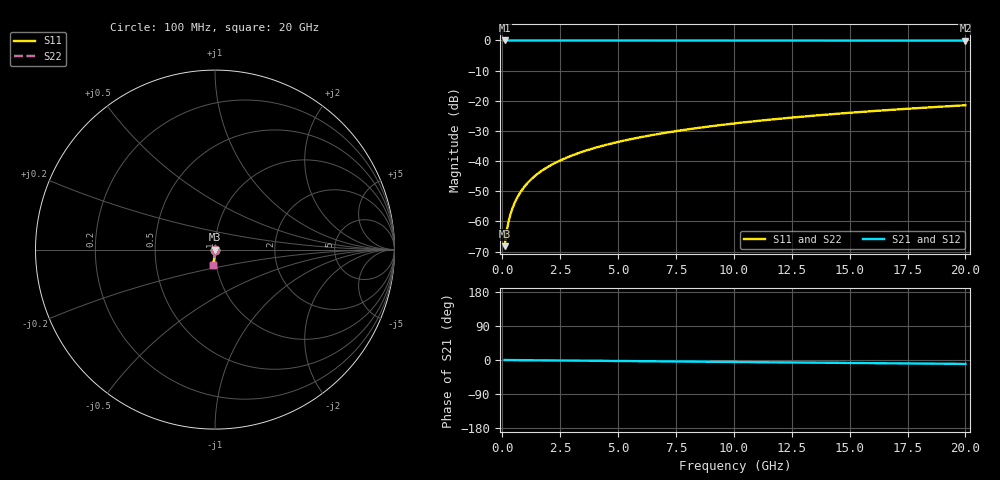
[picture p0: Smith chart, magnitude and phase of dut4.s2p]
! Touchstone file exported from HFSS 2026.1.0
!  File:  C:/ffzhzh/LocalFiles/Ansys_Project_Files/temp_test_TSV_4_1782978010_45568.aedt
!  Generated:  03:41:47 PM Jul  2, 2026
!  Design:  TSV
!  Project:  temp_test_TSV_4_1782978010_45568
! Variables:
!  h_bsmrdl = 2um
!  h_ox = 20um
!  h_rdl = 5um
!  h_sub = 99.64um
!  h_tmrdl = 5um
!  h_tsv = 99.64um
!  h_via = 3um
!  l_bsmrdl = 300um
!  l_sub = 421.18um
!  l_tmrdl = 200um
!  m_sub = 200um
!  pitch = 28.55um
!  r_tsv = 10.59um
!  s_tmrdl = 10um
!  w_bsmrdl = 18um
!  w_sub = 500um
!  w_tmrdl = 12um
!  x_tsv_center1 = 206um
!  x_tsv_center2 = 524um
!  x_tsv_center3 = 736um
!  x_tsv_center4 = 1054um
!  x_tsv_center5 = 1266um
!  x_tsv_center6 = 1584um
# GHz S MA R 50.000000
! Terminal data exported
! Port[1] = TSV1_1_T1
! Port[2] = TSV1_1_T2
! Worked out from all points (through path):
!   200 points, 100 MHz to 20 GHz, reference 50 ohm
!   highest |S21| = 0.00 dB at 100 MHz (marker M1); lowest = 0.0 dB at 20 GHz (marker M2)
!   group delay of S21, straight-line fit = 1.43 ps
!   lowest |S11| = -68.2 dB at 100 MHz (marker M3), VSWR 1.00, Z = 50 - j0.0357 ohm
!   |S11| at or under -10 dB: start of sweep to end of sweep
!   |S22| runs from -68.2 to -21.5 dB; largest |S21 - S12| = 4.2e-15
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0.1  0.0003886 -66.7  0.9998 -0.1  0.9998 -0.1  0.0003886 -66.7
! Gamma 0 0 0 0
! Port Impedance 50 0 50 0
0.2  0.0007406 -76.3  0.9998 -0.1  0.9998 -0.1  0.0007406 -76.3
0.3  0.001112 -79.4  0.9998 -0.2  0.9998 -0.2  0.001112 -79.4
0.4  0.001496 -80.8  0.9998 -0.2  0.9998 -0.2  0.001496 -80.8
0.5  0.001892 -81.6  0.9997 -0.3  0.9997 -0.3  0.001892 -81.6
0.7  0.002705 -82.9  0.9996 -0.4  0.9996 -0.4  0.002705 -82.9
0.8  0.003119 -83.4  0.9996 -0.4  0.9996 -0.4  0.003119 -83.4
1  0.003953 -84.2  0.9996 -0.5  0.9996 -0.5  0.003953 -84.2
1.2  0.004792 -85.0  0.9995 -0.6  0.9995 -0.6  0.004792 -85.0
1.4  0.005631 -85.6  0.9995 -0.7  0.9995 -0.7  0.005631 -85.6
1.7  0.006889 -86.3  0.9994 -0.9  0.9994 -0.9  0.006889 -86.3
2  0.008148 -87.0  0.9994 -1.1  0.9994 -1.1  0.008148 -87.0
2.7  0.01108 -88.0  0.9993 -1.4  0.9993 -1.4  0.01108 -88.0
3.5  0.01445 -88.9  0.9991 -1.8  0.9991 -1.8  0.01445 -88.9
4.2  0.0174 -89.5  0.999 -2.2  0.999 -2.2  0.0174 -89.5
5  0.02078 -90.1  0.9989 -2.6  0.9989 -2.6  0.02078 -90.1
6.8  0.02841 -91.4  0.9985 -3.5  0.9985 -3.5  0.02841 -91.4
8.3  0.03479 -92.4  0.9982 -4.3  0.9982 -4.3  0.03479 -92.4
10.1  0.04244 -93.5  0.9978 -5.3  0.9978 -5.3  0.04244 -93.5
13.4  0.05644 -95.4  0.9969 -7.0  0.9969 -7.0  0.05644 -95.4
16.7  0.07039 -97.3  0.9958 -8.7  0.9958 -8.7  0.07039 -97.3
20  0.08428 -99.1  0.9946 -10.3  0.9946 -10.3  0.08428 -99.1
